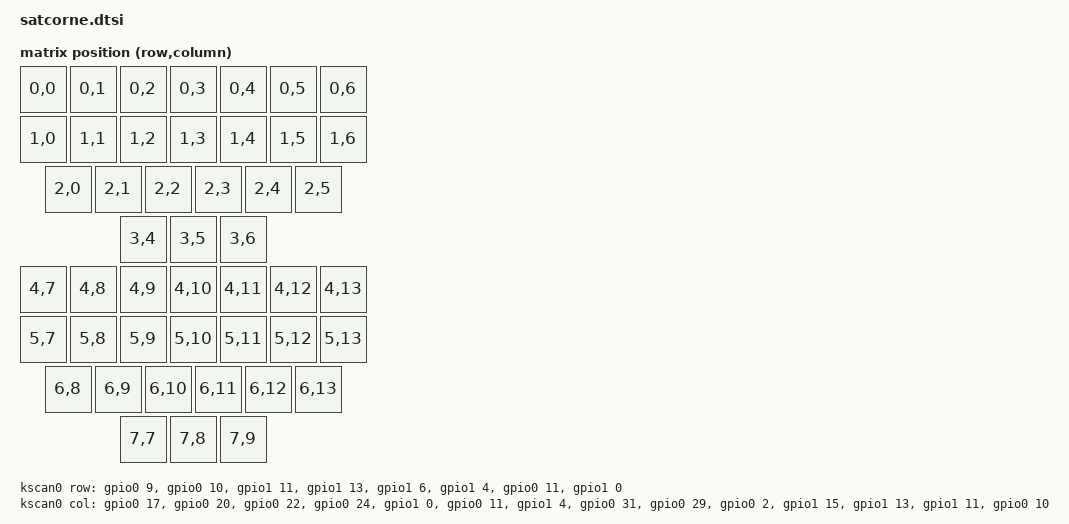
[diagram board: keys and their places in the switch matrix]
#include <dt-bindings/zmk/matrix_transform.h>

/ {
	chosen {
		zmk,kscan = &kscan0;
		zmk,matrix-transform = &default_transform;
	};

	default_transform: keymap_transform_0 {
		compatible = "zmk,matrix-transform";
		columns = <14>;
		rows = <8>;
		
		map = <
			RC(0,0)	RC(0,1)	RC(0,2)	RC(0,3)	RC(0,4)	RC(0,5) RC(0,6)
			RC(1,0)	RC(1,1)	RC(1,2)	RC(1,3)	RC(1,4)	RC(1,5) RC(1,6)
			RC(2,0)	RC(2,1)	RC(2,2)	RC(2,3)	RC(2,4)	RC(2,5)
											RC(3,4)	RC(3,5)	RC(3,6)
																	RC(4,7)	RC(4,8) RC(4,9) RC(4,10) RC(4,11) RC(4,12) RC(4,13)
																	RC(5,7)	RC(5,8) RC(5,9) RC(5,10) RC(5,11) RC(5,12) RC(5,13)
																			RC(6,8) RC(6,9) RC(6,10) RC(6,11) RC(6,12) RC(6,13)
																	RC(7,7)	RC(7,8) RC(7,9) 
		>;
	};

	kscan0: kscan{
		compatible = "zmk,kscan-gpio-matrix";
		diode-direction = "col2row";
		// wakeup-source;
		
		col-gpios
			= <&gpio0 17 GPIO_ACTIVE_HIGH>
			, <&gpio0 20 GPIO_ACTIVE_HIGH>
			, <&gpio0 22 GPIO_ACTIVE_HIGH>
			, <&gpio0 24 GPIO_ACTIVE_HIGH>
			, <&gpio1 0 GPIO_ACTIVE_HIGH>
			, <&gpio0 11 GPIO_ACTIVE_HIGH>
			, <&gpio1 4 GPIO_ACTIVE_HIGH>

			, <&gpio0 31 GPIO_ACTIVE_HIGH>
			, <&gpio0 29 GPIO_ACTIVE_HIGH>
			, <&gpio0 2 GPIO_ACTIVE_HIGH>
			, <&gpio1 15 GPIO_ACTIVE_HIGH>
			, <&gpio1 13 GPIO_ACTIVE_HIGH>
			, <&gpio1 11 GPIO_ACTIVE_HIGH>
			, <&gpio0 10 GPIO_ACTIVE_HIGH>
		;
		
		row-gpios
			= <&gpio0 9 (GPIO_ACTIVE_HIGH | GPIO_PULL_DOWN)>
			, <&gpio0 10 (GPIO_ACTIVE_HIGH | GPIO_PULL_DOWN)>
			, <&gpio1 11 (GPIO_ACTIVE_HIGH | GPIO_PULL_DOWN)>
			, <&gpio1 13 (GPIO_ACTIVE_HIGH | GPIO_PULL_DOWN)>

			, <&gpio1 6 (GPIO_ACTIVE_HIGH | GPIO_PULL_DOWN)>
			, <&gpio1 4 (GPIO_ACTIVE_HIGH | GPIO_PULL_DOWN)>
			, <&gpio0 11 (GPIO_ACTIVE_HIGH | GPIO_PULL_DOWN)>
			, <&gpio1 0 (GPIO_ACTIVE_HIGH | GPIO_PULL_DOWN)>
		;
	};
};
